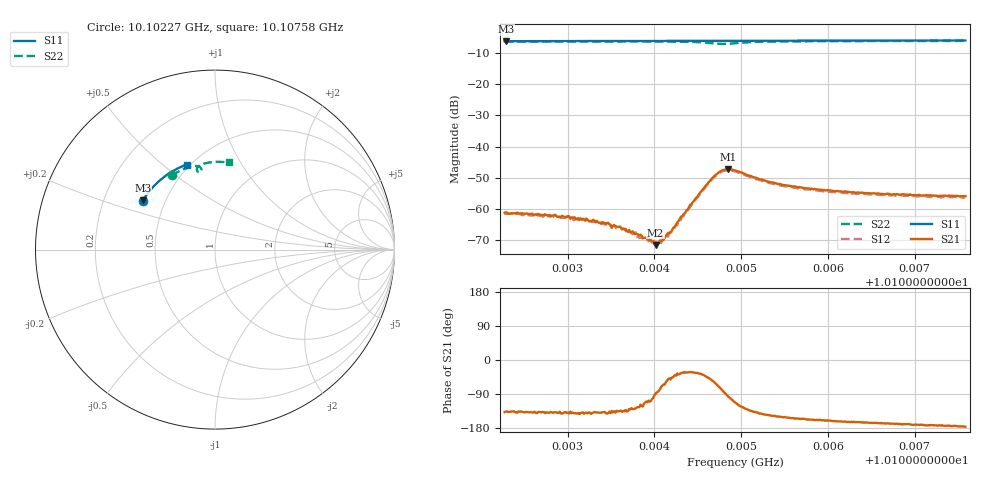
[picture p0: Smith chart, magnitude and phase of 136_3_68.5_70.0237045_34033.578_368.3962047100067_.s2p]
#  HZ  S  RI  R  50.00
! Rohde & Schwarz Vector Network Analyzer
! Rohde-Schwarz,ZNB20-2Port,1311601062101988,3.16
! Created: UTC 3/20/2024, 4:54:41 PM
! freq[Hz]  re:S11  im:S11  re:S21  im:S21  re:S12  im:S12  re:S22  im:S22
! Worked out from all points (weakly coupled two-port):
!   401 points, 10.10227 GHz to 10.10758 GHz, reference 50 ohm
!   highest |S21| = -47.27 dB at 10.10485 GHz (marker M1); lowest = -71.6 dB at 10.10401 GHz (marker M2)
!   lowest |S11| = -6.3 dB at 10.10229 GHz (marker M3), VSWR 2.89, Z = 18.7 + j13.4 ohm
!   |S11| at or under -10 dB: nowhere
!   |S22| runs from -7.1 to -6.2 dB; largest |S21 - S12| = 0.00042
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1.0102275e10  -0.4023 0.2729  -0.000639 -0.000588  -0.000556 -0.000648  -0.2398 0.4141
1.0102288e10  -0.4018 0.2736  -0.000637 -0.000615  -0.000581 -0.000596  -0.2391 0.4147
1.0102846e10  -0.3831 0.3019  -0.000584 -0.000533  -0.000515 -0.000537  -0.2073 0.433
1.0103164e10  -0.3716 0.3177  -0.000519 -0.000448  -0.000479 -0.000468  -0.1881 0.4425
1.0103337e10  -0.365 0.3257  -0.000484 -0.000428  -0.000433 -0.00044  -0.1775 0.4472
1.0103589e10  -0.3552 0.3374  -0.000369 -0.000361  -0.000311 -0.000373  -0.1614 0.4537
1.0103762e10  -0.3483 0.3452  -0.000267 -0.000322  -0.000229 -0.000348  -0.1499 0.4579
1.0103828e10  -0.3456 0.3483  -0.000212 -0.000311  -0.000174 -0.000295  -0.1451 0.4593
1.0104014e10  -0.3378 0.3564  6.83e-06 -0.000264  2.8e-05 -0.000297  -0.1316 0.4629
1.0104054e10  -0.3361 0.3583  4.5e-05 -0.000289  8.29e-05 -0.000278  -0.1286 0.4636
1.0104093e10  -0.3344 0.36  0.00012 -0.000291  0.000123 -0.000281  -0.1254 0.4641
1.01042e10  -0.33 0.3646  0.000303 -0.000319  0.000318 -0.00029  -0.1168 0.4653
1.0104425e10  -0.3199 0.3741  0.00101 -0.00064  0.00101 -0.000511  -0.0957 0.4645
1.0104558e10  -0.3138 0.3794  0.00161 -0.0013  0.00162 -0.00112  -0.0823 0.4577
1.0104677e10  -0.3085 0.3841  0.00181 -0.00267  0.00192 -0.0024  -0.0756 0.4435
1.010477e10  -0.3044 0.3878  0.000944 -0.00394  0.00121 -0.00368  -0.0823 0.4323
1.010485e10  -0.3007 0.3909  -0.000451 -0.00431  -6.6e-05 -0.00413  -0.0936 0.4322
1.010493e10  -0.2971 0.3939  -0.00155 -0.00382  -0.00117 -0.00381  -0.1003 0.441
1.0105341e10  -0.2776 0.4095  -0.00223 -0.00147  -0.00201 -0.00159  -0.0772 0.4734
1.0105819e10  -0.2537 0.426  -0.00195 -0.000802  -0.00176 -0.000929  -0.0419 0.4838
1.0106708e10  -0.207 0.4526  -0.00169 -0.000388  -0.00158 -0.000499  0.0183 0.4889
1.0107584e10  -0.1585 0.4737  -0.0016 -0.000111  -0.00149 -0.000273  0.0753 0.4859
